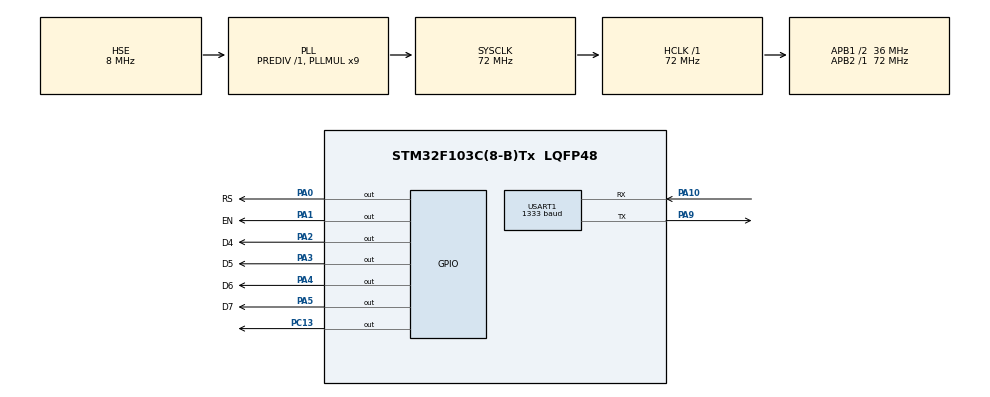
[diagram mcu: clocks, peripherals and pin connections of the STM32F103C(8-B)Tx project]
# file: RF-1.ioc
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Mcu.Family=STM32F1
Mcu.Name=STM32F103C(8-B)Tx
Mcu.Package=LQFP48
NVIC.PriorityGroup=NVIC_PRIORITYGROUP_4
NVIC.TIM4_IRQn=true\:0\:0\:false\:false\:true\:false
NVIC.TimeBase=TIM4_IRQn
NVIC.TimeBaseIP=TIM4
NVIC.USART1_IRQn=true\:0\:0\:false\:false\:true\:true
PA0-WKUP.GPIO_Label=RS
PA0-WKUP.GPIO_Speed=GPIO_SPEED_FREQ_MEDIUM
PA0-WKUP.Signal=GPIO_Output
PA1.GPIO_Label=EN
PA1.GPIO_Speed=GPIO_SPEED_FREQ_MEDIUM
PA1.Signal=GPIO_Output
PA10.Mode=Asynchronous
PA10.Signal=USART1_RX
PA13.Mode=Serial_Wire
PA13.Signal=SYS_JTMS-SWDIO
PA14.Mode=Serial_Wire
PA14.Signal=SYS_JTCK-SWCLK
PA2.GPIO_Label=D4
PA2.GPIO_Speed=GPIO_SPEED_FREQ_MEDIUM
PA2.Signal=GPIO_Output
PA3.GPIO_Label=D5
PA3.GPIO_Speed=GPIO_SPEED_FREQ_MEDIUM
PA3.Signal=GPIO_Output
PA4.GPIO_Label=D6
PA4.GPIO_Speed=GPIO_SPEED_FREQ_MEDIUM
PA4.Signal=GPIO_Output
PA5.GPIO_Label=D7
PA5.GPIO_Speed=GPIO_SPEED_FREQ_MEDIUM
PA5.Signal=GPIO_Output
PA9.Mode=Asynchronous
PA9.Signal=USART1_TX
PC13-TAMPER-RTC.GPIO_Speed=GPIO_SPEED_FREQ_LOW
PC13-TAMPER-RTC.Signal=GPIO_Output
PD0-OSC_IN.Mode=HSE-External-Oscillator
PD0-OSC_IN.Signal=RCC_OSC_IN
PD1-OSC_OUT.Mode=HSE-External-Oscillator
PD1-OSC_OUT.Signal=RCC_OSC_OUT
ProjectManager.HeapSize=0x200
ProjectManager.StackSize=0x400
ProjectManager.TargetToolchain=MDK-ARM V5
RCC.AHBFreq_Value=72000000
RCC.APB1CLKDivider=RCC_HCLK_DIV2
RCC.APB1Freq_Value=36000000
RCC.APB1TimFreq_Value=72000000
RCC.APB2Freq_Value=72000000
RCC.APB2TimFreq_Value=72000000
RCC.HCLKFreq_Value=72000000
RCC.PLLMUL=RCC_PLL_MUL9
RCC.PLLSourceVirtual=RCC_PLLSOURCE_HSE
RCC.SYSCLKFreq_VALUE=72000000
RCC.SYSCLKSource=RCC_SYSCLKSOURCE_PLLCLK
RCC.USBFreq_Value=72000000
USART1.BaudRate=1333
USART1.VirtualMode=VM_ASYNC
VP_SYS_VS_tim4.Mode=TIM4
board=custom

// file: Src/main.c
/**
  ******************************************************************************
  * @file           : main.c
  * @brief          : Main program body
  ******************************************************************************
  ** This notice applies to any and all portions of this file
  * that are not between comment pairs USER CODE BEGIN and
  * USER CODE END. Other portions of this file, whether
  * inserted by the user or by software development tools
  * are owned by their respective copyright owners.
  *
  * COPYRIGHT(c) 2019 STMicroelectronics
  *
  * Redistribution and use in source and binary forms, with or without modification,
  * are permitted provided that the following conditions are met:
  *   1. Redistributions of source code must retain the above copyright notice,
  *      this list of conditions and the following disclaimer.
  *   2. Redistributions in binary form must reproduce the above copyright notice,
  *      this list of conditions and the following disclaimer in the documentation
  *      and/or other materials provided with the distribution.
  *   3. Neither the name of STMicroelectronics nor the names of its contributors
  *      may be used to endorse or promote products derived from this software
  *      without specific prior written permission.
  *
  * THIS SOFTWARE IS PROVIDED BY THE COPYRIGHT HOLDERS AND CONTRIBUTORS "AS IS"
  * AND ANY EXPRESS OR IMPLIED WARRANTIES, INCLUDING, BUT NOT LIMITED TO, THE
  * IMPLIED WARRANTIES OF MERCHANTABILITY AND FITNESS FOR A PARTICULAR PURPOSE ARE
  * DISCLAIMED. IN NO EVENT SHALL THE COPYRIGHT HOLDER OR CONTRIBUTORS BE LIABLE
  * FOR ANY DIRECT, INDIRECT, INCIDENTAL, SPECIAL, EXEMPLARY, OR CONSEQUENTIAL
  * DAMAGES (INCLUDING, BUT NOT LIMITED TO, PROCUREMENT OF SUBSTITUTE GOODS OR
  * SERVICES; LOSS OF USE, DATA, OR PROFITS; OR BUSINESS INTERRUPTION) HOWEVER
  * CAUSED AND ON ANY THEORY OF LIABILITY, WHETHER IN CONTRACT, STRICT LIABILITY,
  * OR TORT (INCLUDING NEGLIGENCE OR OTHERWISE) ARISING IN ANY WAY OUT OF THE USE
  * OF THIS SOFTWARE, EVEN IF ADVISED OF THE POSSIBILITY OF SUCH DAMAGE.
  *
  ******************************************************************************
  */
#include "main.h"
#include "stm32f1xx_hal.h"

/* USER CODE BEGIN Includes */
#include "string.h"

/* USER CODE END Includes */

UART_HandleTypeDef huart1;

/* USER CODE BEGIN PV */
/* Private variables ---------------------------------------------------------*/

/* USER CODE END PV */

void SystemClock_Config(void);
static void MX_GPIO_Init(void);
static void MX_USART1_UART_Init(void);

/* USER CODE BEGIN PFP */
/* Private function prototypes -----------------------------------------------*/

/* USER CODE END PFP */

/* USER CODE BEGIN 0 */

uint8_t data[16];
char t_str[30];
int xx =2;

/* USER CODE END 0 */

int main(void)
{

  /* MCU Configuration----------------------------------------------------------*/

  /* Reset of all peripherals, Initializes the Flash interface and the Systick. */
  HAL_Init();

  /* Configure the system clock */
  SystemClock_Config();

  /* Initialize all configured peripherals */
  MX_GPIO_Init();
  MX_USART1_UART_Init();
  /* USER CODE BEGIN 2 */

	HAL_GPIO_WritePin(GPIOC,GPIO_PIN_13,GPIO_PIN_RESET);
		HAL_Delay(1000);
 	HAL_GPIO_WritePin(GPIOC,GPIO_PIN_13,GPIO_PIN_SET);
		HAL_Delay(1000);

HAL_UART_Receive_IT(&huart1,data,1);

  /* USER CODE END 2 */

  /* Infinite loop */
  while (1)
  {

  /* USER CODE BEGIN 3 */
switch (xx){
	case 0:
		HAL_GPIO_WritePin(GPIOC,GPIO_PIN_13,GPIO_PIN_SET);
	break;
	case 1:
		HAL_GPIO_WritePin(GPIOC,GPIO_PIN_13,GPIO_PIN_RESET);
	break;
	case 2:
		HAL_GPIO_TogglePin(GPIOC,GPIO_PIN_13);
		HAL_Delay(100);
	break;

}

  }
  /* USER CODE END 3 */

}

void SystemClock_Config(void)
{

  RCC_OscInitTypeDef RCC_OscInitStruct;
  RCC_ClkInitTypeDef RCC_ClkInitStruct;

    /**Initializes the CPU, AHB and APB busses clocks
    */
  RCC_OscInitStruct.OscillatorType = RCC_OSCILLATORTYPE_HSE;
  RCC_OscInitStruct.HSEState = RCC_HSE_ON;
  RCC_OscInitStruct.HSEPredivValue = RCC_HSE_PREDIV_DIV1;
  RCC_OscInitStruct.HSIState = RCC_HSI_ON;
  RCC_OscInitStruct.PLL.PLLState = RCC_PLL_ON;
  RCC_OscInitStruct.PLL.PLLSource = RCC_PLLSOURCE_HSE;
  RCC_OscInitStruct.PLL.PLLMUL = RCC_PLL_MUL9;
  if (HAL_RCC_OscConfig(&RCC_OscInitStruct) != HAL_OK)
  {
    _Error_Handler(__FILE__, __LINE__);
  }

    /**Initializes the CPU, AHB and APB busses clocks
    */
  RCC_ClkInitStruct.ClockType = RCC_CLOCKTYPE_HCLK|RCC_CLOCKTYPE_SYSCLK
                              |RCC_CLOCKTYPE_PCLK1|RCC_CLOCKTYPE_PCLK2;
  RCC_ClkInitStruct.SYSCLKSource = RCC_SYSCLKSOURCE_PLLCLK;
  RCC_ClkInitStruct.AHBCLKDivider = RCC_SYSCLK_DIV1;
  RCC_ClkInitStruct.APB1CLKDivider = RCC_HCLK_DIV2;
  RCC_ClkInitStruct.APB2CLKDivider = RCC_HCLK_DIV1;

  if (HAL_RCC_ClockConfig(&RCC_ClkInitStruct, FLASH_LATENCY_2) != HAL_OK)
  {
    _Error_Handler(__FILE__, __LINE__);
  }

    /**Configure the Systick interrupt time
    */
  HAL_SYSTICK_Config(HAL_RCC_GetHCLKFreq()/1000);

    /**Configure the Systick
    */
  HAL_SYSTICK_CLKSourceConfig(SYSTICK_CLKSOURCE_HCLK);

  /* SysTick_IRQn interrupt configuration */
  HAL_NVIC_SetPriority(SysTick_IRQn, 0, 0);
}

/* USART1 init function */
static void MX_USART1_UART_Init(void)
{

  huart1.Instance = USART1;
  huart1.Init.BaudRate = 900;
  huart1.Init.WordLength = UART_WORDLENGTH_8B;
  huart1.Init.StopBits = UART_STOPBITS_1;
  huart1.Init.Parity = UART_PARITY_NONE;
  huart1.Init.Mode = UART_MODE_TX_RX;
  huart1.Init.HwFlowCtl = UART_HWCONTROL_NONE;
  huart1.Init.OverSampling = UART_OVERSAMPLING_16;
  if (HAL_UART_Init(&huart1) != HAL_OK)
  {
    _Error_Handler(__FILE__, __LINE__);
  }

}

/** Configure pins as
        * Analog
        * Input
        * Output
        * EVENT_OUT
        * EXTI
*/
static void MX_GPIO_Init(void)
{

  GPIO_InitTypeDef GPIO_InitStruct;

  /* GPIO Ports Clock Enable */
  __HAL_RCC_GPIOC_CLK_ENABLE();
  __HAL_RCC_GPIOD_CLK_ENABLE();
  __HAL_RCC_GPIOA_CLK_ENABLE();

  /*Configure GPIO pin Output Level */
  HAL_GPIO_WritePin(GPIOC, GPIO_PIN_13, GPIO_PIN_RESET);

  /*Configure GPIO pin Output Level */
  HAL_GPIO_WritePin(GPIOA, RS_Pin|EN_Pin|D4_Pin|D5_Pin
                          |D6_Pin|D7_Pin, GPIO_PIN_RESET);

  /*Configure GPIO pin : PC13 */
  GPIO_InitStruct.Pin = GPIO_PIN_13;
  GPIO_InitStruct.Mode = GPIO_MODE_OUTPUT_PP;
  GPIO_InitStruct.Pull = GPIO_NOPULL;
  GPIO_InitStruct.Speed = GPIO_SPEED_FREQ_LOW;
  HAL_GPIO_Init(GPIOC, &GPIO_InitStruct);

  /*Configure GPIO pins : RS_Pin EN_Pin D4_Pin D5_Pin
                           D6_Pin D7_Pin */
  GPIO_InitStruct.Pin = RS_Pin|EN_Pin|D4_Pin|D5_Pin
                          |D6_Pin|D7_Pin;
  GPIO_InitStruct.Mode = GPIO_MODE_OUTPUT_PP;
  GPIO_InitStruct.Pull = GPIO_NOPULL;
  GPIO_InitStruct.Speed = GPIO_SPEED_FREQ_MEDIUM;
  HAL_GPIO_Init(GPIOA, &GPIO_InitStruct);

}

/* USER CODE BEGIN 4 */
int i=0;
void HAL_UART_RxCpltCallback(UART_HandleTypeDef *huart)
{

	sprintf(t_str, "%d-",data[0]);
	HAL_UART_Transmit(&huart1,(unsigned char*)t_str,strlen(t_str),50);
	if(i==28){
	sprintf(t_str, "\n");
	HAL_UART_Transmit(&huart1,(unsigned char*)t_str,strlen(t_str),50);
	i=0;
	}
	i++;
	HAL_UART_Receive_IT(&huart1,data,1);

}

/* USER CODE END 4 */

void HAL_TIM_PeriodElapsedCallback(TIM_HandleTypeDef *htim)
{
  if (htim->Instance == TIM4) {
    HAL_IncTick();
  }
}

void _Error_Handler(char *file, int line)
{
  while(1)
  {
  }
}

/************************ (C) COPYRIGHT STMicroelectronics *****END OF FILE****/
